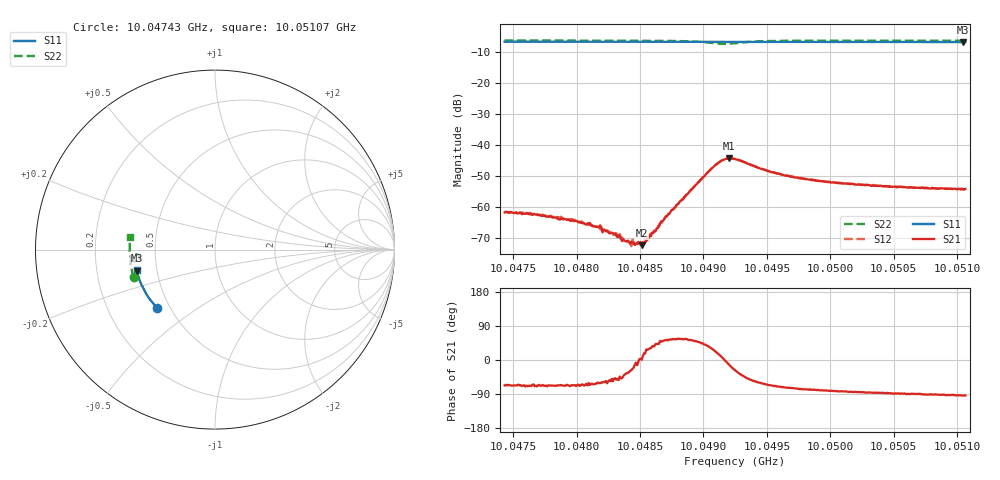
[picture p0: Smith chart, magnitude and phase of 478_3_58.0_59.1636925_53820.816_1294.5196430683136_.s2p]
#  HZ  S  RI  R  50.00
! Rohde & Schwarz Vector Network Analyzer
! Rohde-Schwarz,ZNB20-2Port,1311601062101988,3.16
! Created: UTC 3/21/2024, 1:11:46 AM
! freq[Hz]  re:S11  im:S11  re:S21  im:S21  re:S12  im:S12  re:S22  im:S22
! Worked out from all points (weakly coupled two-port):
!   401 points, 10.04743 GHz to 10.05107 GHz, reference 50 ohm
!   highest |S21| = -44.40 dB at 10.0492 GHz (marker M1); lowest = -72.4 dB at 10.04851 GHz (marker M2)
!   lowest |S11| = -6.9 dB at 10.05105 GHz (marker M3), VSWR 2.65, Z = 19.1 - j5.65 ohm
!   |S11| at or under -10 dB: nowhere
!   |S22| runs from -7.5 to -6.4 dB; largest |S21 - S12| = 0.00043
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1.0047433e10  -0.3248 -0.3236  0.000317 -0.000747  0.000371 -0.000741  -0.4537 -0.1543
1.0047696e10  -0.3365 -0.3106  0.000285 -0.000675  0.00032 -0.000667  -0.4586 -0.137
1.0048041e10  -0.3509 -0.293  0.000238 -0.000493  0.000271 -0.000512  -0.4639 -0.1132
1.0048177e10  -0.3563 -0.2859  0.000226 -0.000406  0.000259 -0.0004  -0.4657 -0.1035
1.0048223e10  -0.3581 -0.2835  0.000226 -0.000357  0.000245 -0.000375  -0.4663 -0.1003
1.0048323e10  -0.3621 -0.2782  0.00021 -0.000246  0.000236 -0.000254  -0.4672 -0.0926
1.0048368e10  -0.3639 -0.2757  0.000219 -0.000204  0.000244 -0.000164  -0.4677 -0.0892
1.0048413e10  -0.3656 -0.2733  0.000231 -0.000145  0.000245 -0.000123  -0.4679 -0.0856
1.0048459e10  -0.3673 -0.2708  0.000237 -5.31e-05  0.000237 -6.2e-05  -0.4682 -0.0819
1.0048513e10  -0.3694 -0.2679  0.000241 2.73e-06  0.00024 5.41e-05  -0.4685 -0.0777
1.004855e10  -0.3706 -0.2659  0.00025 0.000133  0.000237 0.000146  -0.4685 -0.0747
1.004865e10  -0.3744 -0.2604  0.000362 0.000335  0.000313 0.000358  -0.4684 -0.0658
1.0048804e10  -0.3797 -0.2518  0.000635 0.000926  0.000596 0.000976  -0.4659 -0.0507
1.0049076e10  -0.3886 -0.2364  0.00384 0.00201  0.00377 0.00227  -0.4348 -0.0272
1.004914e10  -0.3904 -0.2329  0.00543 0.000857  0.00539 0.00118  -0.4217 -0.0363
1.0049204e10  -0.3924 -0.2294  0.00587 -0.00135  0.00599 -0.000929  -0.4206 -0.0539
1.0049249e10  -0.3938 -0.2268  0.00523 -0.00268  0.00543 -0.00237  -0.4287 -0.0632
1.004954e10  -0.403 -0.2101  0.00139 -0.00335  0.0016 -0.00327  -0.4676 -0.0454
1.0049857e10  -0.4117 -0.191  0.000546 -0.00264  0.000687 -0.00267  -0.4747 -0.0166
1.0050466e10  -0.426 -0.1538  9.93e-05 -0.0021  0.000188 -0.00215  -0.4753 0.0288
1.0051047e10  -0.4366 -0.1173  -0.000133 -0.00189  -1.24e-05 -0.00192  -0.4711 0.0684
1.0051065e10  -0.437 -0.1161  -0.000117 -0.00194  1.52e-05 -0.00193  -0.471 0.0696
